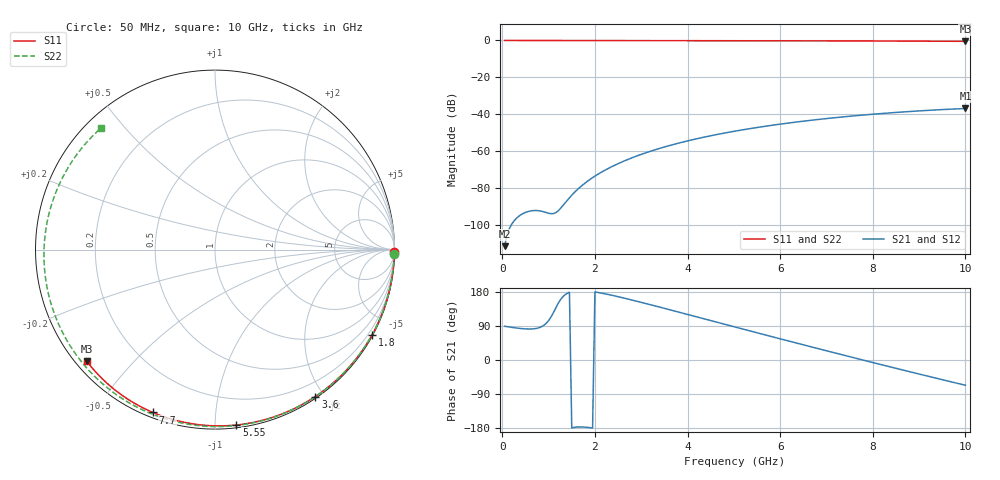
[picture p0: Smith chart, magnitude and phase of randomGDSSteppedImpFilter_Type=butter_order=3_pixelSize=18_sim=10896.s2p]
! freq	dB(S11)	phase(S11)	dB(S12)	phase(S12)
!  dB(S21)	phase(S21)	dB(S22)	phase(S22)
!S-par simulation data
#  GHz  S  DB  R 50
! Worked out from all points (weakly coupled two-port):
!   200 points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, 50 MHz to 10 GHz, reference 50 ohm
!   highest |S21| = -36.89 dB at 10 GHz (marker M1); lowest = -111.6 dB at 50 MHz (marker M2)
!   lowest |S11| = -0.5 dB at 10 GHz (marker M3), VSWR 37.01, Z = 1.54 - j18.7 ohm
!   |S11| at or under -10 dB: nowhere
!   |S22| runs from -0.6 to 0.0 dB; largest |S21 - S12| = 0
!   S11 on the Smith chart (normalised r, x): 50 MHz: open; 1.8 GHz: 0.03, -3.94; 3.6 GHz: 0.02, -1.89; 5.55 GHz: 0.02, -1.13; 7.7 GHz: 0.02, -0.69; 10 GHz: 0.03, -0.37
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0.05  -0.00 -0.8  -111.56 89.0  -111.56 89.0  -0.00 -1.3
0.8  -0.02 -12.8  -92.39 85.4  -92.39 85.4  -0.03 -19.7
1.65  -0.03 -26.2  -80.20 -176.7  -80.20 -176.7  -0.05 -40.3
1.75  -0.04 -27.7  -78.07 -176.8  -78.07 -176.8  -0.05 -42.6
1.8  -0.04 -28.5  -77.08 -177.2  -77.08 -177.2  -0.06 -43.8
2.1  -0.04 -33.2  -72.03 177.5  -72.03 177.5  -0.06 -50.9
2.5  -0.05 -39.3  -66.82 167.1  -66.82 167.1  -0.08 -60.1
2.9  -0.06 -45.3  -62.69 155.2  -62.69 155.2  -0.09 -69.2
3.4  -0.07 -52.7  -58.51 139.5  -58.51 139.5  -0.11 -80.3
3.6  -0.07 -55.7  -57.06 133.1  -57.06 133.1  -0.11 -84.7
4.3  -0.09 -65.8  -52.74 110.5  -52.74 110.5  -0.14 -99.7
5.05  -0.12 -76.3  -49.06 86.3  -49.06 86.3  -0.18 -115.4
5.55  -0.14 -83.1  -47.01 70.2  -47.01 70.2  -0.20 -125.8
6.15  -0.16 -91.0  -44.88 51.1  -44.88 51.1  -0.24 -138.1
6.7  -0.19 -98.2  -43.19 33.7  -43.19 33.7  -0.29 -149.5
7.2  -0.22 -104.6  -41.84 18.1  -41.84 18.1  -0.33 -160.0
7.7  -0.25 -110.9  -40.65 2.6  -40.65 2.6  -0.38 -170.7
8.35  -0.30 -118.9  -39.31 -17.4  -39.31 -17.4  -0.45 174.7
8.8  -0.34 -124.4  -38.52 -31.0  -38.52 -31.0  -0.50 164.1
9.2  -0.38 -129.3  -37.90 -43.0  -37.90 -43.0  -0.55 154.3
9.6  -0.42 -134.1  -37.36 -54.9  -37.36 -54.9  -0.60 144.0
10  -0.47 -139.0  -36.89 -66.6  -36.89 -66.6  -0.64 133.1
